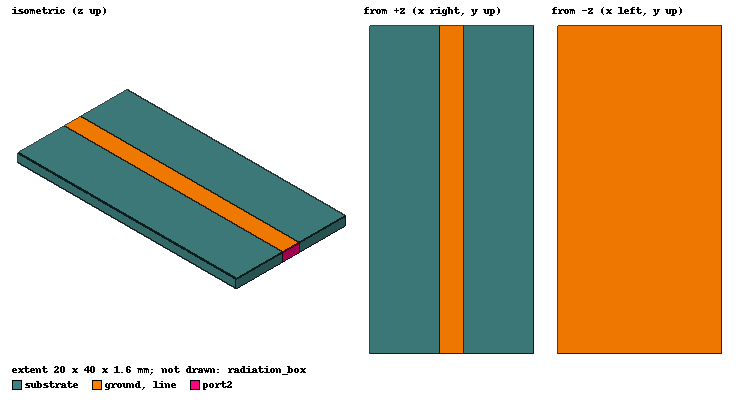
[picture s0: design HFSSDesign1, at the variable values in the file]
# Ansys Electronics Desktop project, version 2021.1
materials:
  vacuum: permittivity=1
  FR4_epoxy: permittivity=4.4 dielectric_loss_tangent=0.02
  air: permittivity=1.0006 permeability=1.0000004

design HFSSDesign1 (HFSS, DrivenModal, model units mm)
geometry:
  ground = rectangle(corner=(0mm, 0mm, 0mm), x_size=20mm, y_size=40mm)
  substrate [FR4_epoxy] = box(corner=(0mm, 0mm, 0mm), size=(20mm, 40mm, 1.6mm))
  line = rectangle(corner=((10-1.5) mm, 0mm, 1.6mm), x_size=3mm, y_size=40mm)
  port1 = rectangle(corner=(8.5mm, 0mm, 1.6mm), z_size=-1.6mm, x_size=3mm)
  port2 = rectangle(corner=(11.5mm, 40mm, 1.6mm), z_size=-1.6mm, x_size=-3mm)
  radiation_box [air] = box(corner=(-10mm, -10mm, -20mm), size=(40mm, 60mm, 40mm))
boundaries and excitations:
  PerfE1: Perfect E Objects=[ground, line]
  Rad1: Radiation Objects=radiation_box
  1: Lumped Port Objects=port1 Modes{Mode1{IntLine{middle of port1.edge(z opposite corner) -> middle of port1.edge(z at corner)} CharImp=Zpi RenormImp=50ohm}} Impedance=50ohm
  2: Lumped Port Objects=port2 Modes{Mode1{IntLine{middle of port2.edge(z at corner) -> middle of port2.edge(z opposite corner)} CharImp=Zpi RenormImp=50ohm}} Impedance=50ohm
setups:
  Setup1: HfssDriven Frequency=5GHz MaxDeltaS=0.02 MaximumPasses=6 MinimumPasses=1 MinimumConvergedPasses=1 PercentRefinement=30 BasisOrder=1 PortAccuracy=2
    sweep Sweep: 1GHz to 20GHz step 0.1GHz; Type=Fast SaveFields
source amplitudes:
  1:1: 1W 0deg
  2:1: 0W 0deg
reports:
  S Parameter Plot 1: dB(S(1,1)), dB(S(2,1)), dB(S(1,2)), dB(S(2,2)) vs Freq on Setup1 : Sweep
